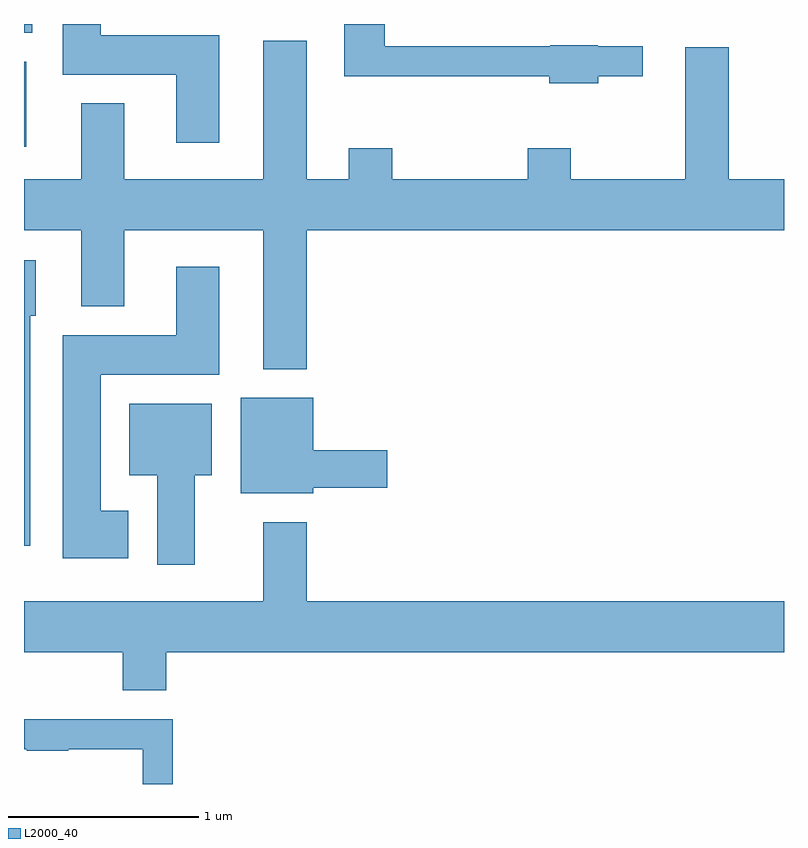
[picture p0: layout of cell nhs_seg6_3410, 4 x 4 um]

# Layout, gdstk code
import gdstk
lib = gdstk.Library(unit=1e-6, precision=1e-09)
def R(c, l, rs):  # rectangles x0, y0, x1, y1
    for r in rs: c.add(gdstk.rectangle(r[:2], r[2:], *l))
def P(c, l, *ps):  # polygons
    for p in ps: c.add(gdstk.Polygon(p, *l))
L2000_40 = (2000, 40)

nhs_seg6_3410 = lib.new_cell('nhs_seg6_3410')
R(nhs_seg6_3410, L2000_40, [(287.611,1621.516,287.624,1621.964), (287.611,1622.116,287.654,1622.162)])
P(nhs_seg6_3410, L2000_40, [(290.634,1621.886),(290.868,1621.886),(290.868,1622.044),(290.63,1622.044),(290.63,1622.049),(290.38,1622.049),(290.38,1622.044),(289.509,1622.044),(289.509,1622.162),(289.296,1622.162),(289.296,1621.886),(290.376,1621.886),(290.376,1621.851),(290.634,1621.851)],
  [(288.639,1622.104),(288.014,1622.104),(288.014,1622.162),(287.816,1622.162),(287.816,1621.896),(288.411,1621.896),(288.411,1621.536),(288.639,1621.536)],
  [(289.099,1621.076),(291.611,1621.076),(291.611,1621.344),(291.319,1621.344),(291.319,1622.039),(291.091,1622.039),(291.091,1621.344),(290.489,1621.344),(290.489,1621.509),(290.261,1621.509),(290.261,1621.344),(289.549,1621.344),(289.549,1621.509),(289.321,1621.509),(289.321,1621.344),(289.099,1621.344),(289.099,1622.074),(288.871,1622.074),(288.871,1621.344),(288.139,1621.344),(288.139,1621.744),(287.911,1621.744),(287.911,1621.344),(287.611,1621.344),(287.611,1621.076),(287.911,1621.076),(287.911,1620.676),(288.139,1620.676),(288.139,1621.076),(288.871,1621.076),(288.871,1620.346),(289.099,1620.346)],
  [(287.644,1620.626),(287.674,1620.626),(287.674,1620.919),(287.611,1620.919),(287.611,1619.416),(287.644,1619.416)],
  [(288.159,1619.599),(288.014,1619.599),(288.014,1620.316),(288.639,1620.316),(288.639,1620.884),(288.411,1620.884),(288.411,1620.524),(287.816,1620.524),(287.816,1619.351),(288.159,1619.351)],
  [(289.134,1619.721),(289.524,1619.721),(289.524,1619.919),(289.134,1619.919),(289.134,1620.194),(288.751,1620.194),(288.751,1619.691),(289.134,1619.691)],
  [(288.509,1619.786),(288.599,1619.786),(288.599,1620.164),(288.166,1620.164),(288.166,1619.786),(288.311,1619.786),(288.311,1619.316),(288.509,1619.316)],
  [(288.359,1618.856),(291.611,1618.856),(291.611,1619.124),(289.099,1619.124),(289.099,1619.539),(288.871,1619.539),(288.871,1619.124),(287.611,1619.124),(287.611,1618.856),(288.131,1618.856),(288.131,1618.656),(288.359,1618.656)],
  [(288.394,1618.504),(287.611,1618.504),(287.611,1618.346),(287.625,1618.346),(287.625,1618.336),(287.845,1618.336),(287.845,1618.346),(288.236,1618.346),(288.236,1618.162),(288.394,1618.162)])

lib.write_gds('nhs_seg6_3410.gds')
